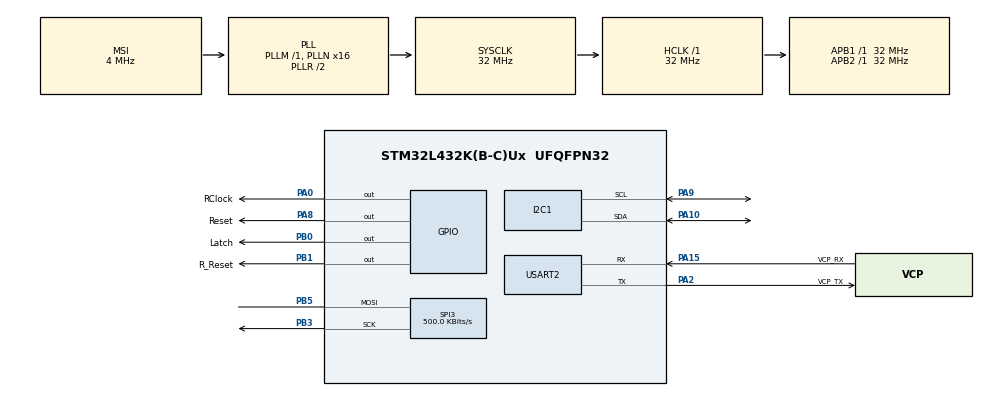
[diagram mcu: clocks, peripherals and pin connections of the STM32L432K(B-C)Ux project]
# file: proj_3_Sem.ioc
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FREERTOS.Events01=dataReceived,Dynamic,NULL;i2cAddressed,Dynamic,NULL
FREERTOS.Queues01=i2cMessageQueue,3,uint8_t,0,Dynamic,NULL,NULL
FREERTOS.Tasks01=defaultTask,24,128,StartDefaultTask,Default,NULL,Dynamic,NULL,NULL;displayTask,8,128,displayTask_App,Default,NULL,Dynamic,NULL,NULL;i2cTask,8,128,i2cTask_App,Default,NULL,Dynamic,NULL,NULL
FREERTOS.configUSE_NEWLIB_REENTRANT=1
I2C1.OwnAddress=0x2B
I2C1.Timing=0x00707CBB
Mcu.Family=STM32L4
Mcu.Name=STM32L432K(B-C)Ux
Mcu.Package=UFQFPN32
NVIC.I2C1_ER_IRQn=true\:5\:0\:false\:false\:true\:true\:true\:true\:true
NVIC.I2C1_EV_IRQn=true\:5\:0\:false\:false\:true\:true\:true\:true\:true
NVIC.PriorityGroup=NVIC_PRIORITYGROUP_4
NVIC.SPI3_IRQn=true\:5\:0\:false\:false\:true\:true\:true\:true\:true
NVIC.TIM1_UP_TIM16_IRQn=true\:15\:0\:false\:false\:true\:false\:false\:true\:true
NVIC.TimeBase=TIM1_UP_TIM16_IRQn
NVIC.TimeBaseIP=TIM16
PA0.GPIO_Label=RClock
PA0.Signal=GPIO_Output
PA10.GPIO_Pu=GPIO_PULLUP
PA10.Mode=I2C
PA10.Signal=I2C1_SDA
PA13\ (JTMS-SWDIO).GPIO_Label=SWDIO
PA13\ (JTMS-SWDIO).Mode=Serial_Wire
PA13\ (JTMS-SWDIO).Signal=SYS_JTMS-SWDIO
PA14\ (JTCK-SWCLK).GPIO_Label=SWCLK
PA14\ (JTCK-SWCLK).Mode=Serial_Wire
PA14\ (JTCK-SWCLK).Signal=SYS_JTCK-SWCLK
PA15\ (JTDI).GPIO_Label=VCP_RX
PA15\ (JTDI).Mode=Asynchronous
PA15\ (JTDI).Signal=USART2_RX
PA2.GPIO_Label=VCP_TX
PA2.Mode=Asynchronous
PA2.Signal=USART2_TX
PA8.GPIO_Label=Reset
PA8.Signal=GPIO_Output
PA9.GPIO_Pu=GPIO_PULLUP
PA9.Mode=I2C
PA9.Signal=I2C1_SCL
PB0.GPIO_Label=Latch
PB0.Signal=GPIO_Output
PB1.GPIO_Label=R_Reset
PB1.Signal=GPIO_Output
PB3\ (JTDO-TRACESWO).Mode=Simplex_Bidirectional_Master
PB3\ (JTDO-TRACESWO).Signal=SPI3_SCK
PB5.Mode=Simplex_Bidirectional_Master
PB5.Signal=SPI3_MOSI
PC14-OSC32_IN\ (PC14).Mode=LSE-External-Oscillator
PC14-OSC32_IN\ (PC14).Signal=RCC_OSC32_IN
PC15-OSC32_OUT\ (PC15).Mode=LSE-External-Oscillator
PC15-OSC32_OUT\ (PC15).Signal=RCC_OSC32_OUT
ProjectManager.HeapSize=0x200
ProjectManager.StackSize=0x400
ProjectManager.TargetToolchain=STM32CubeIDE
RCC.AHBFreq_Value=32000000
RCC.APB1Freq_Value=32000000
RCC.APB1TimFreq_Value=32000000
RCC.APB2Freq_Value=32000000
RCC.APB2TimFreq_Value=32000000
RCC.CortexFreq_Value=32000000
RCC.HCLKFreq_Value=32000000
RCC.HSE_VALUE=8000000
RCC.HSI16_VALUE=16000000
RCC.HSI48_VALUE=48000000
RCC.HSI_VALUE=16000000
RCC.MSI_VALUE=4000000
RCC.PLLMUL=RCC_PLLMUL_4
RCC.PLLN=16
RCC.SYSCLKFreq_VALUE=32000000
RCC.SYSCLKSource=RCC_SYSCLKSOURCE_PLLCLK
RCC.VCOOutputFreq_Value=64000000
SPI3.BaudRatePrescaler=SPI_BAUDRATEPRESCALER_64
SPI3.CalculateBaudRate=500.0 KBits/s
SPI3.DataSize=SPI_DATASIZE_8BIT
SPI3.Direction=SPI_DIRECTION_1LINE
SPI3.Mode=SPI_MODE_MASTER
SPI3.VirtualType=VM_MASTER
USART2.VirtualMode-Asynchronous=VM_ASYNC
VP_FREERTOS_VS_CMSIS_V2.Mode=CMSIS_V2
VP_SYS_VS_tim16.Mode=TIM16
board=NUCLEO-L432KC

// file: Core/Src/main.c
/* USER CODE BEGIN Header */
/**
  ******************************************************************************
  * @file           : main.c
  * @brief          : Main program body
  ******************************************************************************
  * @attention
  *
  * Copyright (c) 2023 STMicroelectronics.
  * All rights reserved.
  *
  * This software is licensed under terms that can be found in the LICENSE file
  * in the root directory of this software component.
  * If no LICENSE file comes with this software, it is provided AS-IS.
  *
  ******************************************************************************
  */
/* USER CODE END Header */
#include "main.h"
#include "cmsis_os.h"
#include "i2c.h"
#include "spi.h"
#include "usart.h"
#include "gpio.h"

/* USER CODE BEGIN Includes */
#include <stdio.h>
#include "stdbool.h"
/* USER CODE END Includes */

void SystemClock_Config(void);
void MX_FREERTOS_Init(void);

int main(void)
{

  /* MCU Configuration--------------------------------------------------------*/

  /* Reset of all peripherals, Initializes the Flash interface and the Systick. */
  HAL_Init();

  /* Configure the system clock */
  SystemClock_Config();

  /* Initialize all configured peripherals */
  MX_GPIO_Init();
  MX_USART2_UART_Init();
  MX_SPI3_Init();
  MX_I2C1_Init();

  /* Init scheduler */
  osKernelInitialize();  /* Call init function for freertos objects (in freertos.c) */
  MX_FREERTOS_Init();

  /* Start scheduler */
  osKernelStart();

  /* We should never get here as control is now taken by the scheduler */
  /* Infinite loop */
  while (1)
  {

  }
}

void SystemClock_Config(void)
{
  RCC_OscInitTypeDef RCC_OscInitStruct = {0};
  RCC_ClkInitTypeDef RCC_ClkInitStruct = {0};

  /** Configure the main internal regulator output voltage
  */
  if (HAL_PWREx_ControlVoltageScaling(PWR_REGULATOR_VOLTAGE_SCALE1) != HAL_OK)
  {
    Error_Handler();
  }

  /** Configure LSE Drive Capability
  */
  HAL_PWR_EnableBkUpAccess();
  __HAL_RCC_LSEDRIVE_CONFIG(RCC_LSEDRIVE_LOW);

  /** Initializes the RCC Oscillators according to the specified parameters
  * in the RCC_OscInitTypeDef structure.
  */
  RCC_OscInitStruct.OscillatorType = RCC_OSCILLATORTYPE_LSE|RCC_OSCILLATORTYPE_MSI;
  RCC_OscInitStruct.LSEState = RCC_LSE_ON;
  RCC_OscInitStruct.MSIState = RCC_MSI_ON;
  RCC_OscInitStruct.MSICalibrationValue = 0;
  RCC_OscInitStruct.MSIClockRange = RCC_MSIRANGE_6;
  RCC_OscInitStruct.PLL.PLLState = RCC_PLL_ON;
  RCC_OscInitStruct.PLL.PLLSource = RCC_PLLSOURCE_MSI;
  RCC_OscInitStruct.PLL.PLLM = 1;
  RCC_OscInitStruct.PLL.PLLN = 16;
  RCC_OscInitStruct.PLL.PLLP = RCC_PLLP_DIV7;
  RCC_OscInitStruct.PLL.PLLQ = RCC_PLLQ_DIV2;
  RCC_OscInitStruct.PLL.PLLR = RCC_PLLR_DIV2;
  if (HAL_RCC_OscConfig(&RCC_OscInitStruct) != HAL_OK)
  {
    Error_Handler();
  }

  /** Initializes the CPU, AHB and APB buses clocks
  */
  RCC_ClkInitStruct.ClockType = RCC_CLOCKTYPE_HCLK|RCC_CLOCKTYPE_SYSCLK
                              |RCC_CLOCKTYPE_PCLK1|RCC_CLOCKTYPE_PCLK2;
  RCC_ClkInitStruct.SYSCLKSource = RCC_SYSCLKSOURCE_PLLCLK;
  RCC_ClkInitStruct.AHBCLKDivider = RCC_SYSCLK_DIV1;
  RCC_ClkInitStruct.APB1CLKDivider = RCC_HCLK_DIV1;
  RCC_ClkInitStruct.APB2CLKDivider = RCC_HCLK_DIV1;

  if (HAL_RCC_ClockConfig(&RCC_ClkInitStruct, FLASH_LATENCY_1) != HAL_OK)
  {
    Error_Handler();
  }

  /** Enable MSI Auto calibration
  */
  HAL_RCCEx_EnableMSIPLLMode();
}

/* USER CODE BEGIN 4 */

/**
 * @brief Splits numbers into single digits and returns the outcome in a struct
 *
 * @param number - uint8_t number that should be split into digits
 * @return singleDigits - Numbers
 */
Numbers getSingleDigits(uint8_t number){
	Numbers singleDigits;
	singleDigits.ones = number % 10;
	number = number - singleDigits.ones;
	singleDigits.tens = (number % 100)/10;
	number = number - singleDigits.tens;
	singleDigits.hundreds = number % 1000/100;
	number = number - singleDigits.hundreds;

	return singleDigits;
}
/* USER CODE END 4 */

void HAL_TIM_PeriodElapsedCallback(TIM_HandleTypeDef *htim)
{
  if (htim->Instance == TIM16) {
    HAL_IncTick();
  }
}

void Error_Handler(void)
{
  __disable_irq();
  while (1)
  {
  }
}

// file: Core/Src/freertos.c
/* USER CODE BEGIN Header */
/**
  ******************************************************************************
  * File Name          : freertos.c
  * Description        : Code for freertos applications
  ******************************************************************************
  * @attention
  *
  * Copyright (c) 2023 STMicroelectronics.
  * All rights reserved.
  *
  * This software is licensed under terms that can be found in the LICENSE file
  * in the root directory of this software component.
  * If no LICENSE file comes with this software, it is provided AS-IS.
  *
  ******************************************************************************
  */
/* USER CODE END Header */

#include "FreeRTOS.h"
#include "task.h"
#include "main.h"
#include "cmsis_os.h"

/* USER CODE BEGIN Includes */
#include "c7x10r_font.h"
/* USER CODE END Includes */

/* USER CODE BEGIN Variables */
extern SPI_HandleTypeDef hspi3;
uint8_t rxDone = 3;
/* USER CODE END Variables */
/* Definitions for defaultTask */
osThreadId_t defaultTaskHandle;
const osThreadAttr_t defaultTask_attributes = {
  .name = "defaultTask",
  .stack_size = 128 * 4,
  .priority = (osPriority_t) osPriorityNormal,
};
/* Definitions for displayTask */
osThreadId_t displayTaskHandle;
const osThreadAttr_t displayTask_attributes = {
  .name = "displayTask",
  .stack_size = 128 * 4,
  .priority = (osPriority_t) osPriorityLow,
};
/* Definitions for i2cTask */
osThreadId_t i2cTaskHandle;
const osThreadAttr_t i2cTask_attributes = {
  .name = "i2cTask",
  .stack_size = 128 * 4,
  .priority = (osPriority_t) osPriorityLow,
};
/* Definitions for i2cMessageQueue */
osMessageQueueId_t i2cMessageQueueHandle;
const osMessageQueueAttr_t i2cMessageQueue_attributes = {
  .name = "i2cMessageQueue"
};
/* Definitions for dataReceived */
osEventFlagsId_t dataReceivedHandle;
const osEventFlagsAttr_t dataReceived_attributes = {
  .name = "dataReceived"
};
/* Definitions for i2cAddressed */
osEventFlagsId_t i2cAddressedHandle;
const osEventFlagsAttr_t i2cAddressed_attributes = {
  .name = "i2cAddressed"
};

void StartDefaultTask(void *argument);
void displayTask_App(void *argument);
void i2cTask_App(void *argument);

void MX_FREERTOS_Init(void); /* (MISRA C 2004 rule 8.1) */

void MX_FREERTOS_Init(void) {

  /* Create the queue(s) */
  /* creation of i2cMessageQueue */
  i2cMessageQueueHandle = osMessageQueueNew (3, sizeof(uint8_t), &i2cMessageQueue_attributes);

  /* Create the thread(s) */
  /* creation of defaultTask */
  defaultTaskHandle = osThreadNew(StartDefaultTask, NULL, &defaultTask_attributes);

  /* creation of displayTask */
  displayTaskHandle = osThreadNew(displayTask_App, NULL, &displayTask_attributes);

  /* creation of i2cTask */
  i2cTaskHandle = osThreadNew(i2cTask_App, NULL, &i2cTask_attributes);

  /* Create the event(s) */
  /* creation of dataReceived */
  dataReceivedHandle = osEventFlagsNew(&dataReceived_attributes);

  /* creation of i2cAddressed */
  i2cAddressedHandle = osEventFlagsNew(&i2cAddressed_attributes);

}

/* USER CODE BEGIN Header_StartDefaultTask */
/**
  * @brief  Task Yields and is unneeded
  * @param  argument: Not used
  * @retval None
  */
/* USER CODE END Header_StartDefaultTask */
void StartDefaultTask(void *argument)
{
  /* USER CODE BEGIN StartDefaultTask */
  /* Infinite loop */
  for(;;)
  {
    osDelay(osWaitForever);
  }
  /* USER CODE END StartDefaultTask */
}

/* USER CODE BEGIN Header_displayTask_App */
/**
* @brief display Task, as the name suggests, displays the numbers from the message queue onto the display. This Task runs in a loop to keep the Refresh Rate as High as possible
* @param argument: Not used
* @retval None
*/
/* USER CODE END Header_displayTask_App */
void displayTask_App(void *argument)
{
  /* USER CODE BEGIN displayTask_App */
	uint8_t pulse = 0;
	Numbers singleDigits;
	osStatus_t result;
  /* Infinite loop */
  for(;;)
  {
	  result = osMessageQueueGet(i2cMessageQueueHandle, &pulse, 0U, 0U);
	  if(result == osOK){
		  singleDigits = getSingleDigits(pulse);
	  }else if(pulse == 0){ ///Displays starting message
		  singleDigits.tens = 87 - '0'; /// Letter W
		  singleDigits.ones = 8;
	  }

	  for(int i = 0; i<=7; i++){ ///iterates through all the rows
	  		  if(i==0){ ///reset everything to write in the top row and empty registers
	  			  HAL_GPIO_WritePin(Reset_GPIO_Port, Reset_Pin, GPIO_PIN_RESET);
	  			  HAL_GPIO_WritePin(Reset_GPIO_Port, Reset_Pin, GPIO_PIN_SET);
	  		  }

	  		  while(HAL_SPI_GetState(&hspi3)!=HAL_SPI_STATE_READY);
	  		  HAL_SPI_Transmit_IT(&hspi3, &c7x10r_font[(singleDigits.ones + '0')*8+i], 1); ///write code via SPI
	  		  while(HAL_SPI_GetState(&hspi3)!=HAL_SPI_STATE_READY);
	  		  HAL_SPI_Transmit_IT(&hspi3, &c7x10r_font[(singleDigits.tens + '0')*8+i], 1);
	  		  HAL_GPIO_WritePin(Latch_GPIO_Port, Latch_Pin, SET); ///Open Latch to copy Values into register storage
	  		  HAL_GPIO_WritePin(Latch_GPIO_Port, Latch_Pin, RESET);
	  		 if(i > 0){
	  				HAL_GPIO_WritePin(RClock_GPIO_Port, RClock_Pin, GPIO_PIN_SET); ///skip to next row
	  				HAL_GPIO_WritePin(RClock_GPIO_Port, RClock_Pin, GPIO_PIN_RESET);
	  		 }
	  	  }
	  	  HAL_GPIO_WritePin(R_Reset_GPIO_Port, R_Reset_Pin, GPIO_PIN_SET);///reset Row counter to write in the first row
	  	  HAL_GPIO_WritePin(R_Reset_GPIO_Port, R_Reset_Pin, GPIO_PIN_RESET);
  }
  /* USER CODE END displayTask_App */
}

/* USER CODE BEGIN Header_i2cTask_App */
/**
* @brief The i2cTask starts in a start state, receiving I2C as a slave. When a pulse is received, it puts the pulse into a Queue and sends the pulse to the display Task
* @param argument: Not used
* @retval None
*/
/* USER CODE END Header_i2cTask_App */
void i2cTask_App(void *argument)
{
  /* USER CODE BEGIN i2cTask_App */
	uint8_t rxdata [] = {0};
	extern I2C_HandleTypeDef hi2c1;
  /* Infinite loop */
  for(;;)
  {
	  if(rxDone == 3){ ///start state
		  HAL_I2C_Slave_Receive_IT(&hi2c1, (uint8_t *)rxdata, 8);
		  osThreadYield(); ///yielding Task until something is received
	  }else if(rxDone == 1){ ///if something is received
		  rxDone = 0;
		  osMessageQueuePut(i2cMessageQueueHandle, (uint8_t *)rxdata, 0U, 0U);
		  osDelay(1000); ///to limit new input to every second
		  HAL_I2C_Slave_Receive_IT(&hi2c1, (uint8_t *)rxdata, 8);

	  }
  }
  /* USER CODE END i2cTask_App */
}

/* USER CODE BEGIN Application */

void HAL_I2C_SlaveRxCpltCallback(I2C_HandleTypeDef *hi2c){
	 rxDone = 1;
	 osThreadResume(i2cTaskHandle);
}
/* USER CODE END Application */
